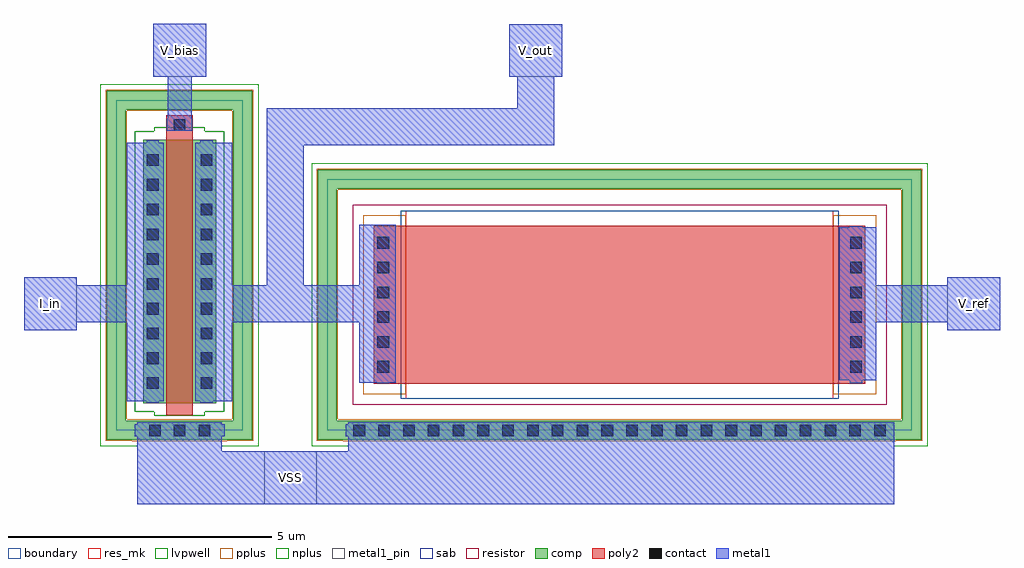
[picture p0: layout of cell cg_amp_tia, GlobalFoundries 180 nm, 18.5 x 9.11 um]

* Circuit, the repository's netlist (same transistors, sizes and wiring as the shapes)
* Extracted by KLayout with GF180MCU LVS runset on : 31/10/2026 13:35

.SUBCKT cg_amp_tia V_out V_ref I_in VSS
R$1 V_out V_ref VSS 2700 ppolyf_u_1k L=8.1U W=3U
M$2 V_out V_ref I_in VSS nfet_03v3 L=0.5U W=5U AS=2.175P AD=2.175P PS=9.24U
+ PD=9.24U
.ENDS cg_amp_tia

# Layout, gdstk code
from math import pi, radians
import gdstk
lib = gdstk.Library(unit=1e-6, precision=1e-09)
def R(c, l, rs):  # rectangles x0, y0, x1, y1
    for r in rs: c.add(gdstk.rectangle(r[:2], r[2:], *l))
def A(c, l, x, y, w, h, nx, ny, dx, dy):  # array of equal rectangles
    R(c, l, [(x+i*dx, y+j*dy, x+i*dx+w, y+j*dy+h) for i in range(nx) for j in range(ny)])
boundary = (0, 0)
comp = (22, 0)
poly2 = (30, 0)
pplus = (31, 0)
nplus = (32, 0)
contact = (33, 0)
metal1 = (34, 0)
metal1_pin = (34, 10)
sab = (49, 0)
resistor = (62, 0)
res_mk = (110, 5)
lvpwell = (204, 0)

ppolyf_u_1k_e2rdxr = lib.new_cell('ppolyf_u_1k_E2RDXR')
R(ppolyf_u_1k_e2rdxr, boundary, [(-2.38,-5.54,2.38,5.54)])
R(ppolyf_u_1k_e2rdxr, comp, [(-2.56,-5.72,2.56,-5.36), (-2.56,-5.36,-2.2,5.36), (2.2,-5.36,2.56,5.36), (-2.56,5.36,2.56,5.72)])
R(ppolyf_u_1k_e2rdxr, poly2, [(-1.5,-4.66,1.5,4.66)])
R(ppolyf_u_1k_e2rdxr, pplus, [(-2.58,-5.74,2.58,-5.34), (-2.58,-5.34,-2.18,5.34), (2.17,-5.34,2.58,-5.235), (2.17,-5.235,2.59,5.235), (-1.7,-4.86,1.7,-4.05), (-1.7,4.05,1.7,4.86), (2.17,5.235,2.58,5.34), (-2.58,5.34,2.58,5.74)])
A(ppolyf_u_1k_e2rdxr, contact, 2.27, -5.045, 0.22, 0.22, 1, 22, 0, 0.47)
A(ppolyf_u_1k_e2rdxr, contact, -1.285, -4.59, 0.22, 0.22, 6, 2, 0.47, 8.96)
R(ppolyf_u_1k_e2rdxr, metal1, [(2.265,-5.195,2.495,5.195), (-1.49,-4.595,1.49,-4.365), (-1.49,4.365,1.49,4.595)])
R(ppolyf_u_1k_e2rdxr, sab, [(-1.78,-4.15,1.78,4.15), (-1.78,-4.05,1.78,4.05)])
R(ppolyf_u_1k_e2rdxr, resistor, [(-1.9,-5.06,1.9,5.06)])
R(ppolyf_u_1k_e2rdxr, res_mk, [(-1.78,-4.05,1.78,4.05), (-1.5,-4.05,1.5,4.05)])
R(ppolyf_u_1k_e2rdxr, lvpwell, [(-2.68,-5.84,2.68,5.84)])

nfet_03v3_lexrl4 = lib.new_cell('nfet_03v3_LEXRL4')
R(nfet_03v3_lexrl4, boundary, [(-1.2,-3.13,1.2,3.13)])
R(nfet_03v3_lexrl4, comp, [(-1.38,-3.31,1.38,-2.95), (-1.38,-2.95,-1.02,2.95), (1.02,-2.95,1.38,2.95), (-0.69,-2.62,0.69,2.38), (-1.38,2.95,1.38,3.31)])
R(nfet_03v3_lexrl4, poly2, [(-0.25,-2.84,0.25,2.84)])
R(nfet_03v3_lexrl4, pplus, [(-0.895,-3.34,0.895,-3.33), (-1.4,-3.33,1.4,-2.92), (-1.4,-2.92,-1,2.93), (1,-2.92,1.4,2.93), (-1.4,2.93,1.4,3.33)])
R(nfet_03v3_lexrl4, nplus, [(-0.48,-2.85,0.48,-2.78), (-0.85,-2.78,0.85,2.54), (-0.48,2.54,0.48,2.61)])
A(nfet_03v3_lexrl4, contact, -0.58, -3.24, 0.22, 0.22, 3, 1, 0.47, 0)
A(nfet_03v3_lexrl4, contact, -0.62, -2.345, 0.22, 0.22, 1, 10, 0, 0.47)
A(nfet_03v3_lexrl4, contact, 0.4, -2.345, 0.22, 0.22, 1, 10, 0, 0.47)
R(nfet_03v3_lexrl4, contact, [(-0.11,2.55,0.11,2.77)])
R(nfet_03v3_lexrl4, metal1, [(-0.855,-3.245,0.855,-3.015), (-0.625,-2.61,-0.395,2.37), (0.395,-2.61,0.625,2.37), (-0.24,2.545,0.24,2.775)])
R(nfet_03v3_lexrl4, lvpwell, [(-1.5,-3.43,1.5,3.43)])

cg_amp_tia = lib.new_cell('cg_amp_tia')
R(cg_amp_tia, metal1, [(4,-8.2,18.35,-7.2), (4,-7.2,5.6,-6.65), (8,-7.2,18.35,-6.65), (3.8,-6.25,4.5,-4.75), (5.1,-6.25,5.8,-4.75), (8.2,-5.9,8.9,-4.75), (17.3,-5.85,18,-4.75), (1.85,-4.9,2.85,-4.75), (19.35,-4.9,20.35,-4.75), (1.85,-4.75,4.5,-4.05), (5.1,-4.75,8.9,-4.05), (17.3,-4.75,20.35,-4.05), (1.85,-4.05,2.85,-3.9), (3.8,-4.05,4.5,-1.35), (5.1,-4.05,5.8,-1.35), (6.45,-4.05,7.15,-1.4), (8.2,-4.05,8.9,-2.9), (17.3,-4.05,18,-2.95), (19.35,-4.05,20.35,-3.9), (6.45,-1.4,11.9,-0.7), (4.575,-1.125,5.03,-0.1), (11.2,-0.7,11.9,-0.1), (4.45,-0.1,5.15,-0.095), (11.05,-0.1,12.05,0.9), (4.3,-0.095,5.3,0.905)])
R(cg_amp_tia, metal1_pin, [(6.4,-8.2,7.4,-7.2), (1.85,-4.9,2.85,-3.9), (19.35,-4.9,20.35,-3.9), (11.05,-0.1,12.05,0.9), (4.3,-0.095,5.3,0.905)])
R(cg_amp_tia, lvpwell, [(4,-8.2,18.35,-7.2), (4,-7.2,5.6,-6.65), (8,-7.2,18.35,-6.65)])
cg_amp_tia.add(gdstk.Reference(ppolyf_u_1k_e2rdxr, (13.14,-4.42), rotation=3*pi/2))
cg_amp_tia.add(gdstk.Reference(nfet_03v3_lexrl4, (4.8,-3.67)))
cg_amp_tia.add(gdstk.Label('V_ref', (19.85,-4.4), layer=34, texttype=10))
cg_amp_tia.add(gdstk.Label('V_out', (11.55,0.4), layer=34, texttype=10))
cg_amp_tia.add(gdstk.Label('V_bias', (4.8,0.405), layer=34, texttype=10))
cg_amp_tia.add(gdstk.Label('I_in', (2.35,-4.4), layer=34, texttype=10))
cg_amp_tia.add(gdstk.Label('VSS', (6.9,-7.7), layer=34, texttype=10))

lib.write_gds('cg_amp_tia.gds')
